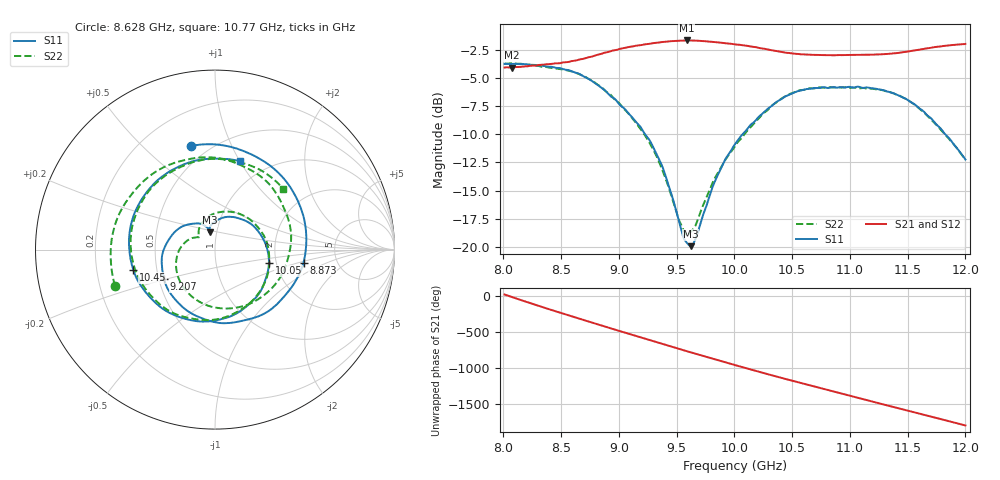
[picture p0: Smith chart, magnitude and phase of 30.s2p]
!Agilent Technologies,E8362C,MY49020356,A.09.42.23
!Agilent E8362C: A.09.42.23
!Date: Friday, November 08, 2024 19:14:06
!Correction: S11(Full 2 Port(1,2))
!S21(Full 2 Port(1,2))
!S12(Full 2 Port(1,2))
!S22(Full 2 Port(1,2))
!S2P File: Measurements: S11, S21, S12, S22:
# Hz S  RI  R 50
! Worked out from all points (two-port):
!   801 points, 8.01 GHz to 12 GHz, reference 50 ohm
!   highest |S21| = -1.68 dB at 9.586 GHz (marker M1); lowest = -4.1 dB at 8.07 GHz (marker M2)
!   |S21| within 3 dB of the highest: start of sweep to end of sweep
!   lowest |S11| = -19.9 dB at 9.621 GHz (marker M3), VSWR 1.22, Z = 46.2 + j8.98 ohm
!   |S11| at or under -10 dB: 9.227 GHz to 10.07 GHz (843.6 MHz wide, 8.74 % of centre); 11.83 GHz to end of sweep
!   |S22| runs from -18.9 to -3.7 dB; largest |S21 - S12| = 0.0089
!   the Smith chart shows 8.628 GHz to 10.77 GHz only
!   S11 on the Smith chart (normalised r, x): 8.628 GHz: 0.40, +0.71; 8.873 GHz: 2.87, -0.55; 9.207 GHz: 0.53, -0.20; 10.05 GHz: 1.83, -0.30; 10.45 GHz: 0.37, -0.11; 10.77 GHz: 0.75, +1.00
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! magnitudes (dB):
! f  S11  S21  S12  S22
! 8.01 GHz  -3.8  -4.1  -4.1  -3.7
! 8.07 GHz  -3.8  -4.1  -4.1  -3.7
! 8.628 GHz  -4.5  -3.5  -3.5  -4.5
! 8.678 GHz  -4.8  -3.3  -3.3  -4.8
! 8.873 GHz  -6.0  -2.8  -2.8  -6.1
! 9.207 GHz  -9.7  -2.1  -2.1  -9.8
! 9.342 GHz  -12.1  -1.9  -1.9  -12.3
! 9.402 GHz  -13.6  -1.8  -1.8  -13.8
! 9.521 GHz  -17.8  -1.7  -1.7  -17.6
! 9.586 GHz  -19.6  -1.7  -1.7  -18.9
! 9.621 GHz  -19.9  -1.7  -1.7  -18.7
! 9.666 GHz  -19.2  -1.7  -1.7  -18.0
! 9.835 GHz  -14.1  -1.8  -1.8  -13.8
! 10.01 GHz  -10.9  -2.0  -2.0  -11.1
! 10.05 GHz  -10.2  -2.1  -2.1  -10.4
! 10.25 GHz  -8.1  -2.4  -2.4  -8.2
! 10.45 GHz  -6.6  -2.8  -2.8  -6.6
! 10.67 GHz  -5.9  -2.9  -3.0  -5.9
! 10.77 GHz  -5.8  -3.0  -3.0  -5.9
! 11.34 GHz  -6.2  -2.9  -2.9  -6.2
! 11.64 GHz  -8.0  -2.4  -2.4  -8.0
! 12 GHz  -12.2  -2.0  -2.0  -12.3
